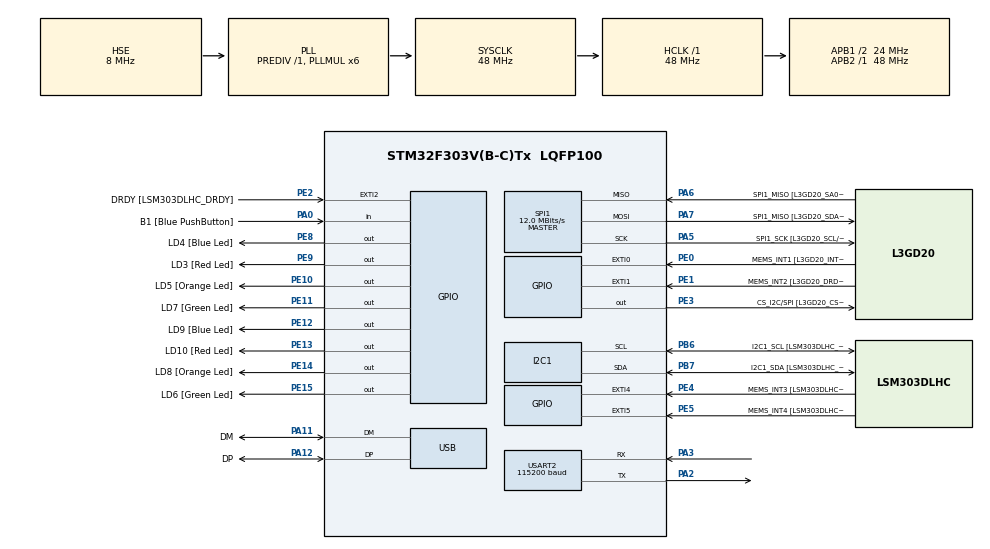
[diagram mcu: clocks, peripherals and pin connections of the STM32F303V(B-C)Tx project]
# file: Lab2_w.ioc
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I2C1.Timing=0x2000090E
I2C1.Timing-I2C=0x2000090E
Mcu.Family=STM32F3
Mcu.Name=STM32F303V(B-C)Tx
Mcu.Package=LQFP100
NVIC.PriorityGroup=NVIC_PRIORITYGROUP_0
NVIC.USB_LP_CAN_RX0_IRQn=true\:0\:0\:false\:false\:true\:false\:true\:true
PA0.GPIO_Label=B1 [Blue PushButton]
PA0.Signal=GPIO_Input
PA11.GPIO_Label=DM
PA11.Mode=Device
PA11.Signal=USB_DM
PA12.GPIO_Label=DP
PA12.Mode=Device
PA12.Signal=USB_DP
PA13.GPIO_Label=SWDIO
PA13.Mode=Serial_Wire
PA13.Signal=SYS_JTMS-SWDIO
PA14.GPIO_Label=SWCLK
PA14.Mode=Serial_Wire
PA14.Signal=SYS_JTCK-SWCLK
PA2.Mode=Asynchronous
PA2.Signal=USART2_TX
PA3.Mode=Asynchronous
PA3.Signal=USART2_RX
PA5.GPIO_Label=SPI1_SCK [L3GD20_SCL/SPC]
PA5.Mode=Full_Duplex_Master
PA5.Signal=SPI1_SCK
PA6.GPIO_Label=SPI1_MISO [L3GD20_SA0/SDO]
PA6.Mode=Full_Duplex_Master
PA6.Signal=SPI1_MISO
PA7.GPIO_Label=SPI1_MISO [L3GD20_SDA/SDI/SDO]
PA7.Mode=Full_Duplex_Master
PA7.Signal=SPI1_MOSI
PB3.GPIO_Label=SWO
PB3.Signal=SYS_JTDO-TRACESWO
PB6.GPIO_Label=I2C1_SCL [LSM303DLHC_SCL]
PB6.GPIO_Pu=GPIO_PULLUP
PB6.Mode=I2C
PB6.Signal=I2C1_SCL
PB7.GPIO_Label=I2C1_SDA [LSM303DLHC_SDA]
PB7.GPIO_Pu=GPIO_PULLUP
PB7.Mode=I2C
PB7.Signal=I2C1_SDA
PC14-OSC32_IN.GPIO_Label=OSC32_IN
PC14-OSC32_IN.Signal=RCC_OSC32_IN
PC15-OSC32_OUT.GPIO_Label=OSC32_OUT
PC15-OSC32_OUT.Signal=RCC_OSC32_OUT
PE0.GPIO_Label=MEMS_INT1 [L3GD20_INT1]
PE0.GPIO_ModeDefaultEXTI=GPIO_MODE_EVT_RISING
PE0.Signal=GPXTI0
PE1.GPIO_Label=MEMS_INT2 [L3GD20_DRDY/INT2]
PE1.GPIO_ModeDefaultEXTI=GPIO_MODE_EVT_RISING
PE1.Signal=GPXTI1
PE10.GPIO_Label=LD5 [Orange Led]
PE10.Signal=GPIO_Output
PE11.GPIO_Label=LD7 [Green Led]
PE11.Signal=GPIO_Output
PE12.GPIO_Label=LD9 [Blue Led]
PE12.Signal=GPIO_Output
PE13.GPIO_Label=LD10 [Red Led]
PE13.Signal=GPIO_Output
PE14.GPIO_Label=LD8 [Orange Led]
PE14.Signal=GPIO_Output
PE15.GPIO_Label=LD6 [Green Led]
PE15.Signal=GPIO_Output
PE2.GPIO_Label=DRDY [LSM303DLHC_DRDY]
PE2.GPIO_ModeDefaultEXTI=GPIO_MODE_EVT_RISING
PE2.Signal=GPXTI2
PE3.GPIO_Label=CS_I2C/SPI [L3GD20_CS_I2C/SPI]
PE3.Signal=GPIO_Output
PE4.GPIO_Label=MEMS_INT3 [LSM303DLHC_INT1]
PE4.GPIO_ModeDefaultEXTI=GPIO_MODE_EVT_RISING
PE4.Signal=GPXTI4
PE5.GPIO_Label=MEMS_INT4 [LSM303DLHC_INT2]
PE5.GPIO_ModeDefaultEXTI=GPIO_MODE_EVT_RISING
PE5.Signal=GPXTI5
PE8.GPIO_Label=LD4 [Blue Led]
PE8.Signal=GPIO_Output
PE9.GPIO_Label=LD3 [Red Led]
PE9.Signal=GPIO_Output
PF0-OSC_IN.GPIO_Label=OSC_IN
PF0-OSC_IN.Mode=HSE-External-Clock-Source
PF0-OSC_IN.Signal=RCC_OSC_IN
PF1-OSC_OUT.GPIO_Label=OSC_OUT
PF1-OSC_OUT.Signal=RCC_OSC_OUT
ProjectManager.HeapSize=0x200
ProjectManager.StackSize=0x400
ProjectManager.TargetToolchain=CMake
RCC.AHBFreq_Value=48000000
RCC.APB1CLKDivider=RCC_HCLK_DIV2
RCC.APB1Freq_Value=24000000
RCC.APB1TimFreq_Value=48000000
RCC.APB2Freq_Value=48000000
RCC.APB2TimFreq_Value=48000000
RCC.CortexFreq_Value=48000000
RCC.HCLKFreq_Value=48000000
RCC.HSE_VALUE=8000000
RCC.HSI_VALUE=8000000
RCC.LSE_VALUE=32768
RCC.PLLMUL=RCC_PLL_MUL6
RCC.SYSCLKFreq_VALUE=48000000
RCC.SYSCLKSourceVirtual=RCC_SYSCLKSOURCE_PLLCLK
RCC.USBFreq_Value=48000000
SPI1.BaudRatePrescaler=SPI_BAUDRATEPRESCALER_4
SPI1.BaudRatePrescaler-Full_Duplex_Master=SPI_BAUDRATEPRESCALER_2
SPI1.CalculateBaudRate=12.0 MBits/s
SPI1.CalculateBaudRate-Full_Duplex_Master=24.0 MBits/s
SPI1.Direction=SPI_DIRECTION_2LINES
SPI1.Mode=SPI_MODE_MASTER
SPI1.Mode-Full_Duplex_Master=SPI_MODE_MASTER
SPI1.VirtualType=VM_MASTER
USART2.BaudRate=115200
USART2.VirtualMode-Asynchronous=VM_ASYNC
USB_DEVICE.CLASS_NAME_FS=CDC
USB_DEVICE.VirtualMode=Cdc
USB_DEVICE.VirtualModeFS=Cdc_FS
VP_USB_DEVICE_VS_USB_DEVICE_CDC_FS.Mode=CDC_FS
board=STM32F3DISCOVERY

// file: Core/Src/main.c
/* USER CODE BEGIN Header */
/**
  ******************************************************************************
  * @file           : main.c
  * @brief          : Main program body
  ******************************************************************************
  * @attention
  *
  * Copyright (c) 2026 STMicroelectronics.
  * All rights reserved.
  *
  * This software is licensed under terms that can be found in the LICENSE file
  * in the root directory of this software component.
  * If no LICENSE file comes with this software, it is provided AS-IS.
  *
  ******************************************************************************
  */
/* USER CODE END Header */
#include "main.h"
#include "usb_device.h"
#include <stdio.h>
#include <stdarg.h> // This fixes the va_list and va_start error
#include <string.h> // This fixes the strlen error

I2C_HandleTypeDef hi2c1;

SPI_HandleTypeDef hspi1;

UART_HandleTypeDef huart2;

void SystemClock_Config(void);
static void MX_GPIO_Init(void);
static void MX_I2C1_Init(void);
static void MX_SPI1_Init(void);
static void MX_USART2_UART_Init(void);

/* USER CODE BEGIN 0 */
  // Task 0
void myPrintf(const char *fmt, ...) {
    char buffer[128];
    va_list args;
    va_start(args, fmt);
    vsnprintf(buffer, sizeof(buffer), fmt, args);
    va_end(args);
    HAL_UART_Transmit(&huart2, (uint8_t*)buffer, strlen(buffer), HAL_MAX_DELAY);
}
/* USER CODE END 0 */

int main(void)
{

  /* MCU Configuration--------------------------------------------------------*/

  /* Reset of all peripherals, Initializes the Flash interface and the Systick. */
  HAL_Init();

  /* Configure the system clock */
  SystemClock_Config();

  /* Initialize all configured peripherals */
  MX_GPIO_Init();
  MX_I2C1_Init();
  MX_SPI1_Init();
  MX_USART2_UART_Init();
  MX_USB_DEVICE_Init();

  /* USER CODE BEGIN 2 */
    myPrintf("Task 0:\r\n");
    myPrintf("Hello, World!\r\n");

    myPrintf("\nTask 1:\r\n");
    int x = 42;
    int y = 3;
    myPrintf("Value of x = %d, y = %d\r\n", x, y);
    // myPrintf("Uart works\r\n");
    HAL_Delay(1000);

    myPrintf("\nTask 2:\r\n");
    int a = 5;
    int b = 7;
    // (LHS)
    int LHS = (a+b)*(a+b);
    // (RHS)
    int RHS = (a*a)+(2*a*b)+(b*b);

    // check if the identity holds
    myPrintf("a = %d, b = %d\r\n", a, b);
    myPrintf("LHS = %d\r\n", LHS);
    myPrintf("RHS = %d\r\n", RHS);
    myPrintf("Identity Verified: ");
    if (LHS == RHS) {myPrintf("Yes\r\n");}
    else {myPrintf("No\r\n");}

    HAL_Delay(1000);

    myPrintf("\nTask 3:\r\n");
    // static string
    char str[] = "Microcontrollers";
    myPrintf("Original:  %s\r\n", str);
    // encryption key i.e. Student ID
    int key = 9718;

    // encrypt by shifting ASCII value of every char
    // ch = ch + (key % 256);
    for (int i = 0; str[i] != '\0'; i++) {
        str[i] = str[i] + (key % 256);}
    myPrintf("Encrypted: %s\r\n", str);

    // decrypt, reverse operation
    //ch = ch - (key % 256);
    for (int i = 0; str[i] != '\0'; i++) {
        str[i] = str[i] - (key % 256);}
    myPrintf("Decrypted: %s\r\n", str);

    HAL_Delay(1000);

    myPrintf("\nTask 4:\r\n");

    int A[2][2] = {{1, 2}, {3, 4}};
    int B[2][2] = {{5, 6}, {7, 8}};
    int C[2][2] = {{0, 0}, {0, 0}};

    // matrix multiplication using nested loops
    for (int i=0; i<2; i++) {
        for (int j=0; j<2; j++) {
            for (int k=0; k<2; k++) {
                C[i][j] += A[i][k]* B[k][j];}
        }
    }

    myPrintf("Matrix A:\r\n");
    for (i = 0; i < 2; i++) {
        myPrintf("%d %d\r\n", A[i][0], A[i][1]);
    }

    myPrintf("Matrix B:\r\n");
    for (i = 0; i < 2; i++) {
        myPrintf("%d %d\r\n", B[i][0], B[i][1]);
    }

    myPrintf("Matrix C (A*B):\r\n");
    for (i = 0; i < 2; i++) {
        myPrintf("%d %d\r\n", C[i][0], C[i][1]);
    }

    HAL_Delay(1000);

    myPrintf("\nTask 5:\r\n");
myPrintf("Armstrong Numbers between 100 and 999:\r\n");

    // iterate from 100 to 999
    for (int n =100; n <= 999; n++) {
        int num = n;
        int remainder = 0;
        int result = 0; // initialized zero for each new no.

        // xtract digits and find sum of cubes of each digit
        while (originalNum != 0) {
            remainder = originalNum % 10;
            result += (remainder * remainder * remainder);
            originalNum /= 10;}

        if (result == num) {
            myPrintf("%d\r\n", num);}
        }

    HAL_Delay(1000);

  /* USER CODE END 2 */

  /* Infinite loop */
  while (1)
  {

  }
  }

void SystemClock_Config(void)
{
  RCC_OscInitTypeDef RCC_OscInitStruct = {0};
  RCC_ClkInitTypeDef RCC_ClkInitStruct = {0};
  RCC_PeriphCLKInitTypeDef PeriphClkInit = {0};

  /** Initializes the RCC Oscillators according to the specified parameters
  * in the RCC_OscInitTypeDef structure.
  */
  RCC_OscInitStruct.OscillatorType = RCC_OSCILLATORTYPE_HSI|RCC_OSCILLATORTYPE_HSE;
  RCC_OscInitStruct.HSEState = RCC_HSE_BYPASS;
  RCC_OscInitStruct.HSEPredivValue = RCC_HSE_PREDIV_DIV1;
  RCC_OscInitStruct.HSIState = RCC_HSI_ON;
  RCC_OscInitStruct.HSICalibrationValue = RCC_HSICALIBRATION_DEFAULT;
  RCC_OscInitStruct.PLL.PLLState = RCC_PLL_ON;
  RCC_OscInitStruct.PLL.PLLSource = RCC_PLLSOURCE_HSE;
  RCC_OscInitStruct.PLL.PLLMUL = RCC_PLL_MUL6;
  if (HAL_RCC_OscConfig(&RCC_OscInitStruct) != HAL_OK)
  {
    Error_Handler();
  }

  /** Initializes the CPU, AHB and APB buses clocks
  */
  RCC_ClkInitStruct.ClockType = RCC_CLOCKTYPE_HCLK|RCC_CLOCKTYPE_SYSCLK
                              |RCC_CLOCKTYPE_PCLK1|RCC_CLOCKTYPE_PCLK2;
  RCC_ClkInitStruct.SYSCLKSource = RCC_SYSCLKSOURCE_PLLCLK;
  RCC_ClkInitStruct.AHBCLKDivider = RCC_SYSCLK_DIV1;
  RCC_ClkInitStruct.APB1CLKDivider = RCC_HCLK_DIV2;
  RCC_ClkInitStruct.APB2CLKDivider = RCC_HCLK_DIV1;

  if (HAL_RCC_ClockConfig(&RCC_ClkInitStruct, FLASH_LATENCY_1) != HAL_OK)
  {
    Error_Handler();
  }
  PeriphClkInit.PeriphClockSelection = RCC_PERIPHCLK_USB|RCC_PERIPHCLK_USART2
                              |RCC_PERIPHCLK_I2C1;
  PeriphClkInit.Usart2ClockSelection = RCC_USART2CLKSOURCE_PCLK1;
  PeriphClkInit.I2c1ClockSelection = RCC_I2C1CLKSOURCE_HSI;
  PeriphClkInit.USBClockSelection = RCC_USBCLKSOURCE_PLL;
  if (HAL_RCCEx_PeriphCLKConfig(&PeriphClkInit) != HAL_OK)
  {
    Error_Handler();
  }
}

static void MX_I2C1_Init(void)
{

  hi2c1.Instance = I2C1;
  hi2c1.Init.Timing = 0x2000090E;
  hi2c1.Init.OwnAddress1 = 0;
  hi2c1.Init.AddressingMode = I2C_ADDRESSINGMODE_7BIT;
  hi2c1.Init.DualAddressMode = I2C_DUALADDRESS_DISABLE;
  hi2c1.Init.OwnAddress2 = 0;
  hi2c1.Init.OwnAddress2Masks = I2C_OA2_NOMASK;
  hi2c1.Init.GeneralCallMode = I2C_GENERALCALL_DISABLE;
  hi2c1.Init.NoStretchMode = I2C_NOSTRETCH_DISABLE;
  if (HAL_I2C_Init(&hi2c1) != HAL_OK)
  {
    Error_Handler();
  }

  /** Configure Analogue filter
  */
  if (HAL_I2CEx_ConfigAnalogFilter(&hi2c1, I2C_ANALOGFILTER_ENABLE) != HAL_OK)
  {
    Error_Handler();
  }

  /** Configure Digital filter
  */
  if (HAL_I2CEx_ConfigDigitalFilter(&hi2c1, 0) != HAL_OK)
  {
    Error_Handler();
  }

}

static void MX_SPI1_Init(void)
{

  /* SPI1 parameter configuration*/
  hspi1.Instance = SPI1;
  hspi1.Init.Mode = SPI_MODE_MASTER;
  hspi1.Init.Direction = SPI_DIRECTION_2LINES;
  hspi1.Init.DataSize = SPI_DATASIZE_4BIT;
  hspi1.Init.CLKPolarity = SPI_POLARITY_LOW;
  hspi1.Init.CLKPhase = SPI_PHASE_1EDGE;
  hspi1.Init.NSS = SPI_NSS_SOFT;
  hspi1.Init.BaudRatePrescaler = SPI_BAUDRATEPRESCALER_4;
  hspi1.Init.FirstBit = SPI_FIRSTBIT_MSB;
  hspi1.Init.TIMode = SPI_TIMODE_DISABLE;
  hspi1.Init.CRCCalculation = SPI_CRCCALCULATION_DISABLE;
  hspi1.Init.CRCPolynomial = 7;
  hspi1.Init.CRCLength = SPI_CRC_LENGTH_DATASIZE;
  hspi1.Init.NSSPMode = SPI_NSS_PULSE_ENABLE;
  if (HAL_SPI_Init(&hspi1) != HAL_OK)
  {
    Error_Handler();
  }

}

static void MX_USART2_UART_Init(void)
{

  huart2.Instance = USART2;
  huart2.Init.BaudRate = 115200;
  huart2.Init.WordLength = UART_WORDLENGTH_8B;
  huart2.Init.StopBits = UART_STOPBITS_1;
  huart2.Init.Parity = UART_PARITY_NONE;
  huart2.Init.Mode = UART_MODE_TX_RX;
  huart2.Init.HwFlowCtl = UART_HWCONTROL_NONE;
  huart2.Init.OverSampling = UART_OVERSAMPLING_16;
  huart2.Init.OneBitSampling = UART_ONE_BIT_SAMPLE_DISABLE;
  huart2.AdvancedInit.AdvFeatureInit = UART_ADVFEATURE_NO_INIT;
  if (HAL_UART_Init(&huart2) != HAL_OK)
  {
    Error_Handler();
  }

}

static void MX_GPIO_Init(void)
{
  GPIO_InitTypeDef GPIO_InitStruct = {0};

  /* GPIO Ports Clock Enable */
  __HAL_RCC_GPIOE_CLK_ENABLE();
  __HAL_RCC_GPIOC_CLK_ENABLE();
  __HAL_RCC_GPIOF_CLK_ENABLE();
  __HAL_RCC_GPIOA_CLK_ENABLE();
  __HAL_RCC_GPIOB_CLK_ENABLE();

  /*Configure GPIO pin Output Level */
  HAL_GPIO_WritePin(GPIOE, CS_I2C_SPI_Pin|LD4_Pin|LD3_Pin|LD5_Pin
                          |LD7_Pin|LD9_Pin|LD10_Pin|LD8_Pin
                          |LD6_Pin, GPIO_PIN_RESET);

  /*Configure GPIO pins : DRDY_Pin MEMS_INT3_Pin MEMS_INT4_Pin MEMS_INT1_Pin
                           MEMS_INT2_Pin */
  GPIO_InitStruct.Pin = DRDY_Pin|MEMS_INT3_Pin|MEMS_INT4_Pin|MEMS_INT1_Pin
                          |MEMS_INT2_Pin;
  GPIO_InitStruct.Mode = GPIO_MODE_EVT_RISING;
  GPIO_InitStruct.Pull = GPIO_NOPULL;
  HAL_GPIO_Init(GPIOE, &GPIO_InitStruct);

  /*Configure GPIO pins : CS_I2C_SPI_Pin LD4_Pin LD3_Pin LD5_Pin
                           LD7_Pin LD9_Pin LD10_Pin LD8_Pin
                           LD6_Pin */
  GPIO_InitStruct.Pin = CS_I2C_SPI_Pin|LD4_Pin|LD3_Pin|LD5_Pin
                          |LD7_Pin|LD9_Pin|LD10_Pin|LD8_Pin
                          |LD6_Pin;
  GPIO_InitStruct.Mode = GPIO_MODE_OUTPUT_PP;
  GPIO_InitStruct.Pull = GPIO_NOPULL;
  GPIO_InitStruct.Speed = GPIO_SPEED_FREQ_LOW;
  HAL_GPIO_Init(GPIOE, &GPIO_InitStruct);

  /*Configure GPIO pin : B1_Pin */
  GPIO_InitStruct.Pin = B1_Pin;
  GPIO_InitStruct.Mode = GPIO_MODE_INPUT;
  GPIO_InitStruct.Pull = GPIO_NOPULL;
  HAL_GPIO_Init(B1_GPIO_Port, &GPIO_InitStruct);

}

void Error_Handler(void)
{
  __disable_irq();
  while (1)
  {
  }
}
